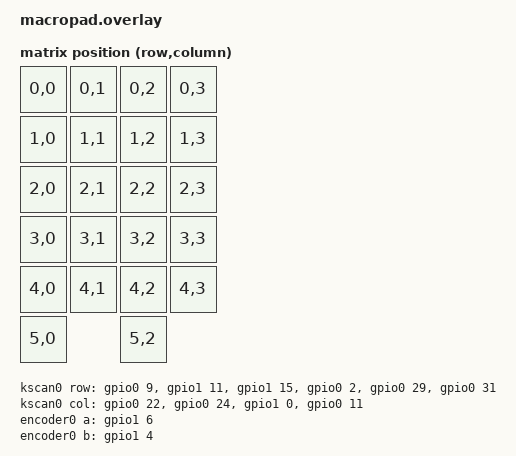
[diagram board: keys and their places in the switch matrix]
/*
 * 6x4 hand-wired macropad + 1 EC11 encoder
 */

#include <dt-bindings/zmk/matrix_transform.h>
#include <zephyr/dt-bindings/mipi_dbi/mipi_dbi.h>

/ {
    chosen {
        zmk,kscan = &kscan0;
        zmk,matrix-transform = &default_transform;
        zephyr,display = &oled;
    };

    /* --- Matrix scan: 6 rows x 4 columns --- */
    kscan0: kscan0 {
        compatible = "zmk,kscan-gpio-matrix";
        diode-direction = "col2row";
        wakeup-source;

        row-gpios =
            <&gpio0 9 (GPIO_ACTIVE_HIGH | GPIO_PULL_DOWN)>,  /* row 0 */
            <&gpio1 11 (GPIO_ACTIVE_HIGH | GPIO_PULL_DOWN)>, /* row 1 */
            <&gpio1 15 (GPIO_ACTIVE_HIGH | GPIO_PULL_DOWN)>, /* row 2 */
            <&gpio0 2 (GPIO_ACTIVE_HIGH | GPIO_PULL_DOWN)>,  /* row 3 */
            <&gpio0 29 (GPIO_ACTIVE_HIGH | GPIO_PULL_DOWN)>, /* row 4 */
            <&gpio0 31 (GPIO_ACTIVE_HIGH | GPIO_PULL_DOWN)>; /* row 5 */

        col-gpios =
            <&gpio0 22 GPIO_ACTIVE_HIGH>,  /* col 0 */
            <&gpio0 24 GPIO_ACTIVE_HIGH>,  /* col 1 */
            <&gpio1 0  GPIO_ACTIVE_HIGH>,  /* col 2 */
            <&gpio0 11 GPIO_ACTIVE_HIGH>;  /* col 3 */
    };

    /* --- Matrix transform: map (row,col) -> key positions --- */
    default_transform: keymap_transform_0 {
        compatible = "zmk,matrix-transform";
        rows = <6>;
        columns = <4>;

        map = <
            /* row 0 */
            RC(0,0) RC(0,1) RC(0,2) RC(0,3)
            /* row 1 */
            RC(1,0) RC(1,1) RC(1,2) RC(1,3)
            /* row 2 */
            RC(2,0) RC(2,1) RC(2,2) RC(2,3)
            /* row 3 */
            RC(3,0) RC(3,1) RC(3,2) RC(3,3)
            /* row 4 */
            RC(4,0) RC(4,1) RC(4,2) RC(4,3)
            /* row 5 – skip (5,1) and (5,3) */
            RC(5,0)          RC(5,2)
        >;
    };

    /* --- EC11 encoder on its own GPIOs --- */
    encoder0: encoder_0 {
        compatible = "alps,ec11";

        a-gpios = <&gpio1 6 (GPIO_ACTIVE_HIGH | GPIO_PULL_UP)>;
        b-gpios = <&gpio1 4 (GPIO_ACTIVE_HIGH | GPIO_PULL_UP)>;

        steps = <24>;
        status = "okay";
    };

    sensors: sensors {
        compatible = "zmk,keymap-sensors";
        sensors = <&encoder0>;
        triggers-per-rotation = <24>;
    };

        /* MIPI-DBI bus (top-level node in Zephyr 4.1 style) */
    mipi_dbi0: mipi-dbi@0 {
        compatible = "zephyr,mipi-dbi-spi";
        status = "okay";

        /* THIS is what Zephyr 4.1 requires */
        spi-dev = <&spi0>;

        dc-gpios    = <&gpio0 8 GPIO_ACTIVE_HIGH>;
        reset-gpios = <&gpio0 20 GPIO_ACTIVE_LOW>;
        write-only;

        #address-cells = <1>;
        #size-cells = <0>;

        oled: ssd1322@0 {
            compatible = "solomon,ssd1322";
            reg = <0>;

            width  = <256>;
            height = <64>;

            /* Zephyr 4.1: string enum (NOT <...>) */
            mipi-mode = "MIPI_DBI_MODE_SPI_4WIRE";
            mipi-max-frequency = <8000000>;

            column-offset = <28>;
            mux-ratio = <63>;
            segments-per-pixel = <1>;
        };
    };
};

/* SPI0 still needs to be enabled + have CS */
&spi0 {
    status = "okay";
    cs-gpios = <&gpio0 17 GPIO_ACTIVE_LOW>;

    pinctrl-0 = <&spi0_default>;
    pinctrl-1 = <&spi0_sleep>;
    pinctrl-names = "default", "sleep";
};

/* Your pinctrl override (SCK=P1.13, MOSI=P0.10, no MISO) */
&pinctrl {
    spi0_default: spi0_default {
        group1 {
            psels = <NRF_PSEL(SPIM_SCK, 1, 13)>,
                    <NRF_PSEL(SPIM_MOSI, 0, 10)>;
        };
    };

    spi0_sleep: spi0_sleep {
        group1 {
            psels = <NRF_PSEL(SPIM_SCK, 1, 13)>,
                    <NRF_PSEL(SPIM_MOSI, 0, 10)>;
            low-power-enable;
        };
    };
};

&i2c0 {
    status = "disabled";
};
